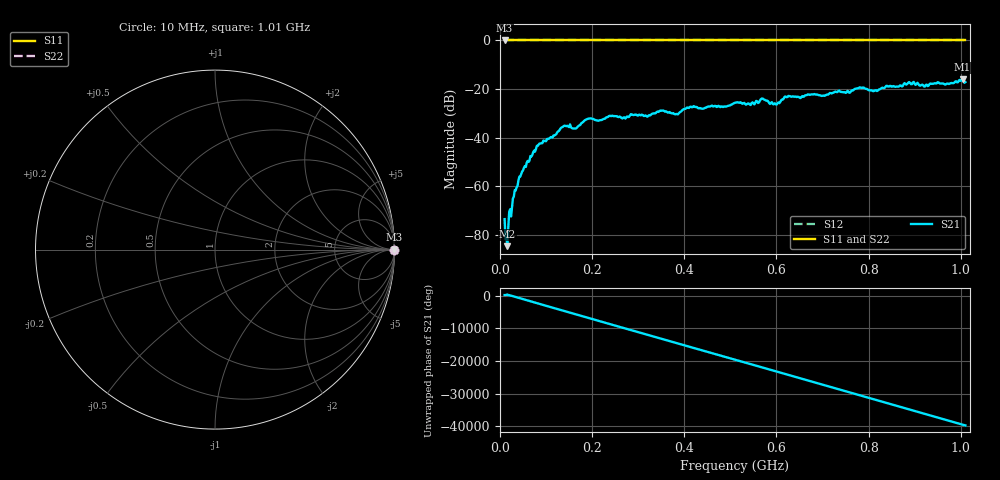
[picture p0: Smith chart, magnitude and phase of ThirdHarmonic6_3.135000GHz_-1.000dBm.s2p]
! 8/17/2025 9:20:40 AM
! C:\ANRITSUVNA\TEMP\TEMP.S2P
! CHANNEL.1
! TR.MEASUREMENT
! RAW.DATA
! RF.CORRECTION.OFF
! AVERAGING.OFF
! IF.BANDWIDTH: 5KHZ
! SWEEPTYPE:  FREQ.SWEEP(Linear)
! Reference Plane Port Info
! PORT:  PORT1  PORT2
! DISTANCE:  0  m  0  m
! TIME:  0  s  0  s
! PHASE.OFFSET:  0  deg.  0  deg.
! LOSS:  0  dB  0  dB
! REF.LOSS:  0  dB  0  dB
! REF.FREQ:  0  Hz  0  Hz
! Power Info
! POWER:  -20  dBm  -20  dBm
! EFF.POWER:  -20  dBm  -20  dBm
! SOURCE.ATTEN:  0  dB  0  dB
! TEST.ATTEN:  0  dB  0  dB
# GHZ S RI R 50.0
! FREQ.GHZ  S11RE  S11IM  S21RE  S21IM  S12RE  S12IM  S22RE  S22IM
!; PortSelection: Port_12
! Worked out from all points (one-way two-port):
!   501 points, 10 MHz to 1.01 GHz, reference 50 ohm
!   highest |S21| = -16.05 dB at 1.004 GHz (marker M1); lowest = -84.6 dB at 16 MHz (marker M2)
!   lowest |S11| = 0.0 dB at 10 MHz (marker M3)
!   |S11| at or under -10 dB: nowhere
!   |S22| runs from 0.0 to 0.0 dB; largest |S21 - S12| = 1.1
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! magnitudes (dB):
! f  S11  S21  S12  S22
! 10 MHz  0.0  -73.5  0.0  0.0
! 16 MHz  0.0  -84.6  0.0  0.0
! 32 MHz  0.0  -61.6  0.0  0.0
! 44 MHz  0.0  -56.0  0.0  0.0
! 82 MHz  0.0  -43.3  0.0  0.0
! 136 MHz  0.0  -35.6  0.0  0.0
! 162 MHz  0.0  -36.2  0.0  0.0
! 178 MHz  0.0  -33.9  0.0  0.0
! 194 MHz  0.0  -32.1  0.0  0.0
! 322 MHz  0.0  -31.0  0.0  0.0
! 344 MHz  0.0  -29.4  0.0  0.0
! 382 MHz  0.0  -30.3  0.0  0.0
! 416 MHz  0.0  -27.4  0.0  0.0
! 510 MHz  0.0  -25.6  0.0  0.0
! 548 MHz  0.0  -25.4  0.0  0.0
! 570 MHz  0.0  -23.9  0.0  0.0
! 596 MHz  0.0  -25.8  0.0  0.0
! 622 MHz  0.0  -23.3  0.0  0.0
! 678 MHz  0.0  -22.2  0.0  0.0
! 844 MHz  0.0  -18.9  0.0  0.0
! 1.004 GHz  0.0  -16.0  0.0  0.0
! 1.01 GHz  0.0  -17.1  0.0  0.0
